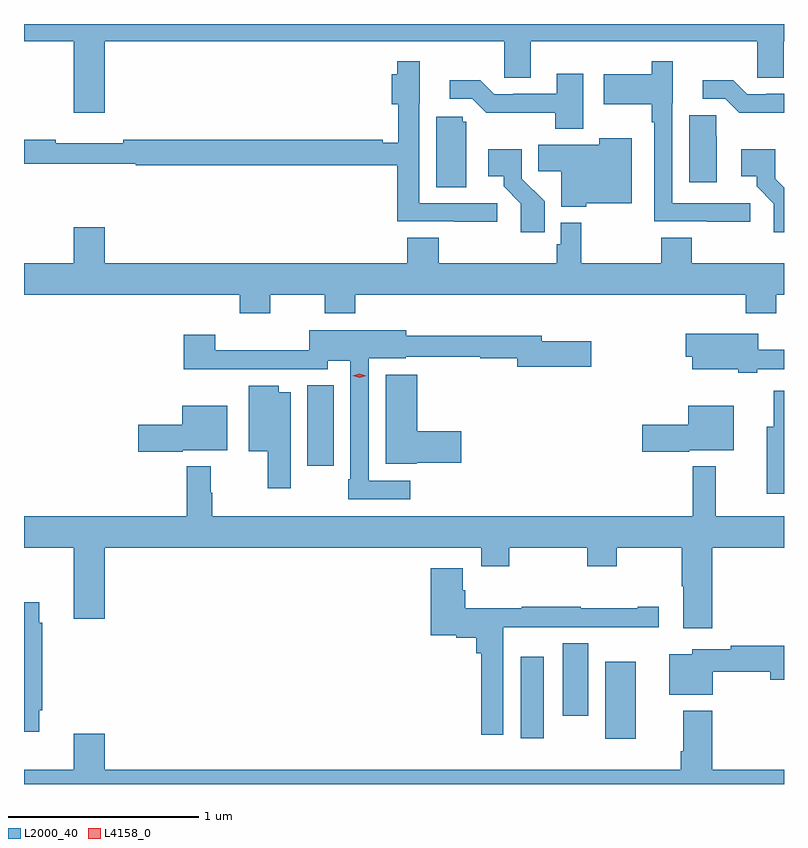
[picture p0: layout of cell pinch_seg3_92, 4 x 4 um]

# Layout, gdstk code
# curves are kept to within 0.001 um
import gdstk
lib = gdstk.Library(unit=1e-6, precision=1e-09)
def R(c, l, rs):  # rectangles x0, y0, x1, y1
    for r in rs: c.add(gdstk.rectangle(r[:2], r[2:], *l))
def P(c, l, *ps):  # polygons
    for p in ps: c.add(gdstk.Polygon(p, *l))
L2000_40 = (2000, 40)
L4158_0 = (4158, 0)

pinch_seg3_92 = lib.new_cell('pinch_seg3_92')
R(pinch_seg3_92, L2000_40, [(1066.904,718.557,1067.065,718.963), (1066.46,718.56,1066.582,718.99), (1066.682,718.68,1066.816,719.06), (1065.338,719.994,1065.475,720.419)])
P(pinch_seg3_92, L2000_40, [(1063.846,722.228),(1064.108,722.228),(1064.108,721.854),(1064.272,721.854),(1064.272,722.228),(1066.374,722.228),(1066.374,722.038),(1066.513,722.038),(1066.513,722.228),(1067.706,722.228),(1067.706,722.038),(1067.845,722.038),(1067.845,722.228),(1067.846,722.228),(1067.846,722.32),(1063.846,722.32)],
  [(1067.668,721.377),(1067.259,721.377),(1067.259,721.902),(1067.26,721.902),(1067.26,722.125),(1067.151,722.125),(1067.151,722.056),(1066.896,722.056),(1066.896,721.898),(1067.151,721.898),(1067.151,721.802),(1067.163,721.802),(1067.163,721.281),(1067.443,721.281),(1067.443,721.279),(1067.668,721.279)],
  [(1066.336,721.377),(1065.927,721.377),(1065.927,721.902),(1065.928,721.902),(1065.928,722.125),(1065.811,722.125),(1065.811,722.056),(1065.782,722.056),(1065.782,721.898),(1065.815,721.898),(1065.815,721.694),(1065.734,721.694),(1065.734,721.712),(1064.368,721.712),(1064.368,721.693),(1064.012,721.693),(1064.012,721.712),(1063.846,721.712),(1063.846,721.584),(1064.434,721.584),(1064.434,721.576),(1065.811,721.576),(1065.811,721.281),(1066.111,721.281),(1066.111,721.279),(1066.336,721.279)],
  [(1066.789,722.059),(1066.649,722.059),(1066.649,721.953),(1066.42,721.953),(1066.42,721.95),(1066.32,721.95),(1066.247,722.023),(1066.086,722.023),(1066.086,721.926),(1066.206,721.926),(1066.279,721.853),(1066.642,721.854),(1066.642,721.769),(1066.789,721.769)],
  [(1067.71,721.854),(1067.846,721.854),(1067.846,721.953),(1067.752,721.953),(1067.752,721.95),(1067.652,721.95),(1067.579,722.023),(1067.418,722.023),(1067.418,721.926),(1067.538,721.926),(1067.611,721.853),(1067.71,721.853)],
  [(1067.491,721.73),(1067.49,721.73),(1067.49,721.841),(1067.348,721.841),(1067.348,721.488),(1067.491,721.488)],
  [(1066.174,721.806),(1066.155,721.806),(1066.155,721.833),(1066.016,721.833),(1066.016,721.462),(1066.174,721.462)],
  [(1066.806,721.376),(1067.044,721.376),(1067.044,721.72),(1066.874,721.72),(1066.874,721.684),(1066.552,721.684),(1066.552,721.546),(1066.673,721.546),(1066.673,721.358),(1066.806,721.358)],
  [(1067.846,721.458),(1067.799,721.505),(1067.799,721.66),(1067.622,721.66),(1067.622,721.52),(1067.702,721.52),(1067.702,721.465),(1067.793,721.375),(1067.793,721.224),(1067.846,721.224)],
  [(1066.586,721.386),(1066.467,721.505),(1066.467,721.66),(1066.29,721.66),(1066.29,721.52),(1066.37,721.52),(1066.37,721.465),(1066.461,721.375),(1066.461,721.224),(1066.586,721.224)],
  [(1065.141,720.896),(1065.43,720.896),(1065.43,720.797),(1065.59,720.797),(1065.59,720.896),(1067.645,720.896),(1067.645,720.797),(1067.805,720.797),(1067.805,720.896),(1067.846,720.896),(1067.846,721.06),(1067.36,721.06),(1067.36,721.196),(1067.2,721.196),(1067.2,721.06),(1066.78,721.06),(1066.78,721.273),(1066.671,721.273),(1066.671,721.161),(1066.651,721.161),(1066.651,721.06),(1066.028,721.06),(1066.028,721.196),(1065.863,721.196),(1065.863,721.06),(1064.272,721.06),(1064.272,721.249),(1064.108,721.249),(1064.108,721.06),(1063.846,721.06),(1063.846,720.896),(1064.981,720.896),(1064.981,720.797),(1065.141,720.797)],
  [(1065.88,719.916),(1065.66,719.916),(1065.66,720.56),(1065.855,720.56),(1065.855,720.57),(1066.246,720.57),(1066.246,720.562),(1066.442,720.562),(1066.442,720.515),(1066.831,720.515),(1066.831,720.649),(1066.57,720.649),(1066.57,720.68),(1065.859,720.68),(1065.859,720.709),(1065.348,720.709),(1065.348,720.602),(1064.852,720.602),(1064.852,720.685),(1064.687,720.685),(1064.687,720.503),(1064.933,720.503),(1064.933,720.504),(1065.444,720.504),(1065.444,720.548),(1065.564,720.548),(1065.564,719.923),(1065.552,719.923),(1065.552,719.82),(1065.88,719.82)],
  [(1067.706,720.504),(1067.846,720.504),(1067.846,720.605),(1067.71,720.605),(1067.71,720.691),(1067.33,720.691),(1067.33,720.569),(1067.363,720.569),(1067.363,720.503),(1067.606,720.503),(1067.606,720.484),(1067.706,720.484)],
  [(1065.912,720.011),(1066.147,720.011),(1066.147,720.177),(1065.916,720.177),(1065.916,720.475),(1065.749,720.475),(1065.749,720.005),(1065.912,720.005)],
  [(1065.25,720.382),(1065.187,720.382),(1065.187,720.415),(1065.029,720.415),(1065.029,720.071),(1065.128,720.071),(1065.128,719.877),(1065.25,719.877)],
  [(1067.846,720.391),(1067.792,720.391),(1067.792,720.199),(1067.756,720.199),(1067.756,719.847),(1067.846,719.847)],
  [(1067.346,720.077),(1067.581,720.077),(1067.581,720.31),(1067.342,720.31),(1067.342,720.212),(1067.1,720.212),(1067.1,720.07),(1067.346,720.07)],
  [(1064.682,720.077),(1064.917,720.077),(1064.917,720.31),(1064.678,720.31),(1064.678,720.212),(1064.448,720.212),(1064.448,720.07),(1064.682,720.07)],
  [(1067.468,719.564),(1067.846,719.564),(1067.846,719.728),(1067.486,719.728),(1067.486,719.992),(1067.366,719.992),(1067.366,719.728),(1064.837,719.728),(1064.837,719.852),(1064.83,719.852),(1064.83,719.992),(1064.702,719.992),(1064.702,719.728),(1063.846,719.728),(1063.846,719.564),(1064.108,719.564),(1064.108,719.19),(1064.272,719.19),(1064.272,719.564),(1066.253,719.564),(1066.253,719.465),(1066.401,719.465),(1066.401,719.564),(1066.81,719.564),(1066.81,719.465),(1066.965,719.465),(1066.965,719.564),(1067.308,719.564),(1067.308,719.36),(1067.315,719.36),(1067.315,719.139),(1067.468,719.139)],
  [(1066.368,719.144),(1066.578,719.144),(1066.578,719.145),(1066.912,719.145),(1066.912,719.144),(1067.188,719.144),(1067.188,719.254),(1067.075,719.254),(1067.075,719.244),(1066.775,719.244),(1066.775,719.254),(1066.465,719.254),(1066.465,719.244),(1066.169,719.244),(1066.169,719.34),(1066.156,719.34),(1066.156,719.455),(1065.986,719.455),(1065.986,719.102),(1066.122,719.102),(1066.122,719.09),(1066.226,719.09),(1066.226,719.009),(1066.252,719.009),(1066.252,718.578),(1066.368,718.578)],
  [(1063.925,718.708),(1063.943,718.708),(1063.943,719.168),(1063.925,719.168),(1063.925,719.276),(1063.846,719.276),(1063.846,718.596),(1063.925,718.596)],
  [(1067.47,718.912),(1067.774,718.912),(1067.774,718.87),(1067.846,718.87),(1067.846,719.048),(1067.566,719.048),(1067.566,719.028),(1067.364,719.028),(1067.364,719.002),(1067.243,719.002),(1067.243,718.79),(1067.47,718.79)],
  [(1067.846,718.396),(1067.468,718.396),(1067.468,718.705),(1067.315,718.705),(1067.315,718.492),(1067.303,718.492),(1067.303,718.396),(1064.272,718.396),(1064.272,718.585),(1064.108,718.585),(1064.108,718.396),(1063.846,718.396),(1063.846,718.32),(1067.846,718.32)])
P(pinch_seg3_92, L4158_0, [(1065.612,720.459),(1065.577,720.468),(1065.576,720.468),(1065.577,720.468),(1065.611,720.479),(1065.646,720.47),(1065.647,720.47),(1065.646,720.47)])

lib.write_gds('pinch_seg3_92.gds')
